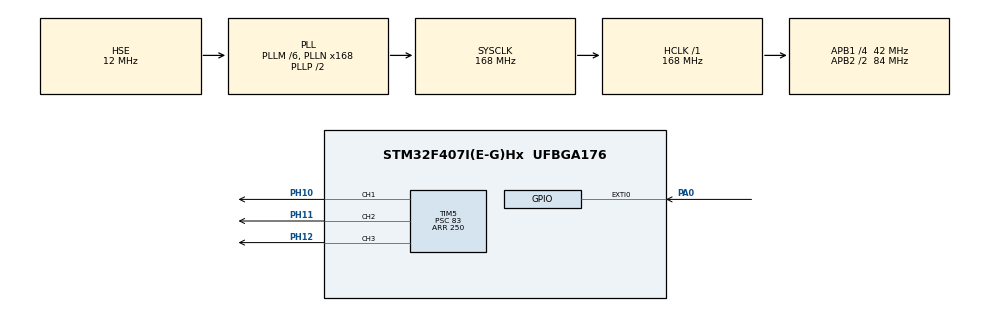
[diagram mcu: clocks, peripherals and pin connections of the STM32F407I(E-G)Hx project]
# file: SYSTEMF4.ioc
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Mcu.Family=STM32F4
Mcu.Name=STM32F407I(E-G)Hx
Mcu.Package=UFBGA176
NVIC.EXTI0_IRQn=true\:0\:0\:false\:false\:true\:true\:true\:true
NVIC.PriorityGroup=NVIC_PRIORITYGROUP_4
PA0-WKUP.GPIO_ModeDefaultEXTI=GPIO_MODE_IT_RISING
PA0-WKUP.Signal=GPXTI0
PA13.Mode=Serial_Wire
PA13.Signal=SYS_JTMS-SWDIO
PA14.Mode=Serial_Wire
PA14.Signal=SYS_JTCK-SWCLK
PH0-OSC_IN.Mode=HSE-External-Oscillator
PH0-OSC_IN.Signal=RCC_OSC_IN
PH1-OSC_OUT.Mode=HSE-External-Oscillator
PH1-OSC_OUT.Signal=RCC_OSC_OUT
PH10.Signal=S_TIM5_CH1
PH11.Signal=S_TIM5_CH2
PH12.Signal=S_TIM5_CH3
ProjectManager.HeapSize=0x200
ProjectManager.StackSize=0x400
ProjectManager.TargetToolchain=CMake
RCC.48MHZClocksFreq_Value=84000000
RCC.AHBFreq_Value=168000000
RCC.APB1CLKDivider=RCC_HCLK_DIV4
RCC.APB1Freq_Value=42000000
RCC.APB1TimFreq_Value=84000000
RCC.APB2CLKDivider=RCC_HCLK_DIV2
RCC.APB2Freq_Value=84000000
RCC.APB2TimFreq_Value=168000000
RCC.CortexFreq_Value=168000000
RCC.HCLKFreq_Value=168000000
RCC.HSE_VALUE=12000000
RCC.HSI_VALUE=16000000
RCC.LSE_VALUE=32768
RCC.PLLM=6
RCC.PLLN=168
RCC.PLLSourceVirtual=RCC_PLLSOURCE_HSE
RCC.SYSCLKFreq_VALUE=168000000
RCC.SYSCLKSource=RCC_SYSCLKSOURCE_PLLCLK
RCC.VCOOutputFreq_Value=336000000
SH.S_TIM5_CH1.0=TIM5_CH1,PWM Generation1 CH1
SH.S_TIM5_CH2.0=TIM5_CH2,PWM Generation2 CH2
SH.S_TIM5_CH3.0=TIM5_CH3,PWM Generation3 CH3
TIM5.Channel-PWM\ Generation1\ CH1=TIM_CHANNEL_1
TIM5.Channel-PWM\ Generation2\ CH2=TIM_CHANNEL_2
TIM5.Channel-PWM\ Generation3\ CH3=TIM_CHANNEL_3
TIM5.ClockDivision=TIM_CLOCKDIVISION_DIV1
TIM5.Period=250
TIM5.Prescaler=83
VP_TIM5_VS_ClockSourceINT.Mode=Internal
board=custom

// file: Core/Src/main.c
/* USER CODE BEGIN Header */
/**
  ******************************************************************************
  * @file           : main.c
  * @brief          : Main program body
  ******************************************************************************
  * @attention
  *
  * Copyright (c) 2026 STMicroelectronics.
  * All rights reserved.
  *
  * This software is licensed under terms that can be found in the LICENSE file
  * in the root directory of this software component.
  * If no LICENSE file comes with this software, it is provided AS-IS.
  *
  ******************************************************************************
  */
/* USER CODE END Header */
#include "main.h"

TIM_HandleTypeDef htim5;

void SystemClock_Config(void);
static void MX_GPIO_Init(void);
static void MX_TIM5_Init(void);

int main(void)
{

  /* MCU Configuration--------------------------------------------------------*/

  /* Reset of all peripherals, Initializes the Flash interface and the Systick. */
  HAL_Init();

  /* Configure the system clock */
  SystemClock_Config();

  /* Initialize all configured peripherals */
  MX_GPIO_Init();
  MX_TIM5_Init();
  /* USER CODE BEGIN 2 */
  HAL_TIM_PWM_Init(&htim5);
  HAL_TIM_PWM_Start(&htim5, TIM_CHANNEL_1);
  HAL_TIM_PWM_Start(&htim5, TIM_CHANNEL_2);
  HAL_TIM_PWM_Start(&htim5, TIM_CHANNEL_3);
  int a=0;
  int b=1;
  int c=250;
  /* USER CODE END 2 */

  /* Infinite loop */
  while (1)
  {

    /* USER CODE BEGIN 3 */
    __HAL_TIM_SET_COMPARE(&htim5, TIM_CHANNEL_1, a);
    __HAL_TIM_SET_COMPARE(&htim5, TIM_CHANNEL_2, a);
    __HAL_TIM_SET_COMPARE(&htim5, TIM_CHANNEL_3, a);
    a+=b*5;
    if(a>=c){
      a=c;
      b=-1;
    }
    else if(a<=0){
      a=0;
      b=1;
    }
    HAL_Delay(10);
  }
  /* USER CODE END 3 */
}

void SystemClock_Config(void)
{
  RCC_OscInitTypeDef RCC_OscInitStruct = {0};
  RCC_ClkInitTypeDef RCC_ClkInitStruct = {0};

  /** Configure the main internal regulator output voltage
  */
  __HAL_RCC_PWR_CLK_ENABLE();
  __HAL_PWR_VOLTAGESCALING_CONFIG(PWR_REGULATOR_VOLTAGE_SCALE1);

  /** Initializes the RCC Oscillators according to the specified parameters
  * in the RCC_OscInitTypeDef structure.
  */
  RCC_OscInitStruct.OscillatorType = RCC_OSCILLATORTYPE_HSE;
  RCC_OscInitStruct.HSEState = RCC_HSE_ON;
  RCC_OscInitStruct.PLL.PLLState = RCC_PLL_ON;
  RCC_OscInitStruct.PLL.PLLSource = RCC_PLLSOURCE_HSE;
  RCC_OscInitStruct.PLL.PLLM = 6;
  RCC_OscInitStruct.PLL.PLLN = 168;
  RCC_OscInitStruct.PLL.PLLP = RCC_PLLP_DIV2;
  RCC_OscInitStruct.PLL.PLLQ = 4;
  if (HAL_RCC_OscConfig(&RCC_OscInitStruct) != HAL_OK)
  {
    Error_Handler();
  }

  /** Initializes the CPU, AHB and APB buses clocks
  */
  RCC_ClkInitStruct.ClockType = RCC_CLOCKTYPE_HCLK|RCC_CLOCKTYPE_SYSCLK
                              |RCC_CLOCKTYPE_PCLK1|RCC_CLOCKTYPE_PCLK2;
  RCC_ClkInitStruct.SYSCLKSource = RCC_SYSCLKSOURCE_PLLCLK;
  RCC_ClkInitStruct.AHBCLKDivider = RCC_SYSCLK_DIV1;
  RCC_ClkInitStruct.APB1CLKDivider = RCC_HCLK_DIV4;
  RCC_ClkInitStruct.APB2CLKDivider = RCC_HCLK_DIV2;

  if (HAL_RCC_ClockConfig(&RCC_ClkInitStruct, FLASH_LATENCY_5) != HAL_OK)
  {
    Error_Handler();
  }
}

static void MX_TIM5_Init(void)
{

  TIM_ClockConfigTypeDef sClockSourceConfig = {0};
  TIM_MasterConfigTypeDef sMasterConfig = {0};
  TIM_OC_InitTypeDef sConfigOC = {0};

  htim5.Instance = TIM5;
  htim5.Init.Prescaler = 83;
  htim5.Init.CounterMode = TIM_COUNTERMODE_UP;
  htim5.Init.Period = 250;
  htim5.Init.ClockDivision = TIM_CLOCKDIVISION_DIV1;
  htim5.Init.AutoReloadPreload = TIM_AUTORELOAD_PRELOAD_DISABLE;
  if (HAL_TIM_Base_Init(&htim5) != HAL_OK)
  {
    Error_Handler();
  }
  sClockSourceConfig.ClockSource = TIM_CLOCKSOURCE_INTERNAL;
  if (HAL_TIM_ConfigClockSource(&htim5, &sClockSourceConfig) != HAL_OK)
  {
    Error_Handler();
  }
  if (HAL_TIM_PWM_Init(&htim5) != HAL_OK)
  {
    Error_Handler();
  }
  sMasterConfig.MasterOutputTrigger = TIM_TRGO_RESET;
  sMasterConfig.MasterSlaveMode = TIM_MASTERSLAVEMODE_DISABLE;
  if (HAL_TIMEx_MasterConfigSynchronization(&htim5, &sMasterConfig) != HAL_OK)
  {
    Error_Handler();
  }
  sConfigOC.OCMode = TIM_OCMODE_PWM1;
  sConfigOC.Pulse = 0;
  sConfigOC.OCPolarity = TIM_OCPOLARITY_HIGH;
  sConfigOC.OCFastMode = TIM_OCFAST_DISABLE;
  if (HAL_TIM_PWM_ConfigChannel(&htim5, &sConfigOC, TIM_CHANNEL_1) != HAL_OK)
  {
    Error_Handler();
  }
  if (HAL_TIM_PWM_ConfigChannel(&htim5, &sConfigOC, TIM_CHANNEL_2) != HAL_OK)
  {
    Error_Handler();
  }
  if (HAL_TIM_PWM_ConfigChannel(&htim5, &sConfigOC, TIM_CHANNEL_3) != HAL_OK)
  {
    Error_Handler();
  }
  HAL_TIM_MspPostInit(&htim5);

}

static void MX_GPIO_Init(void)
{
  GPIO_InitTypeDef GPIO_InitStruct = {0};

  /* GPIO Ports Clock Enable */
  __HAL_RCC_GPIOA_CLK_ENABLE();
  __HAL_RCC_GPIOH_CLK_ENABLE();

  /*Configure GPIO pin : PA0 */
  GPIO_InitStruct.Pin = GPIO_PIN_0;
  GPIO_InitStruct.Mode = GPIO_MODE_IT_RISING;
  GPIO_InitStruct.Pull = GPIO_NOPULL;
  HAL_GPIO_Init(GPIOA, &GPIO_InitStruct);

  /* EXTI interrupt init*/
  HAL_NVIC_SetPriority(EXTI0_IRQn, 0, 0);
  HAL_NVIC_EnableIRQ(EXTI0_IRQn);

}

void Error_Handler(void)
{
  __disable_irq();
  while (1)
  {
  }
}
